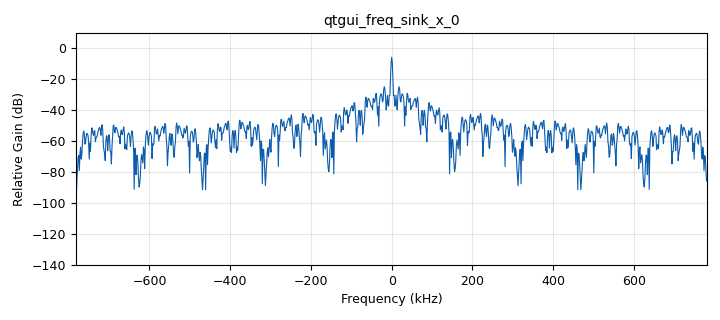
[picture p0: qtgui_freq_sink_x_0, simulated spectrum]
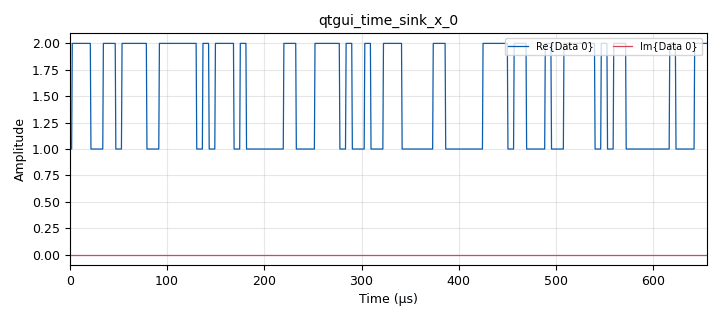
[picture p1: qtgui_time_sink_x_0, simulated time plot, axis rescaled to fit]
options:
  parameters:
    author: lab comu2 grupo 5
    generate_options: qt_gui
    id: Modulacion_ASK
    output_language: python
    title: Sindy Chapeta, Diego Calderon
  states: {}

blocks:
- name: Ac
  id: variable_qtgui_range
  parameters:
    label: Amplitud de la portadora
    start: '0'
    step: '0.1'
    stop: '2'
    value: '1'
  states: {}
- name: GTX
  id: variable_qtgui_range
  parameters:
    label: ganancia del TX
    start: '0'
    step: '1'
    stop: '30'
    value: '0'
  states: {}
- name: fc
  id: variable_qtgui_range
  parameters:
    label: frecuencia de portadora
    start: 50e6
    step: 1e6
    stop: 2200e6
    value: 50e6
  states: {}
- name: interpolation
  id: variable_qtgui_range
  parameters:
    start: '10'
    step: '10'
    stop: '100'
    value: '10'
  states: {}
- name: ka
  id: variable_qtgui_range
  parameters:
    label: coeficiente de sensibilidad ka
    start: '0'
    step: '0.1'
    stop: '2'
    value: '1'
  states: {}
- name: samp_rate
  id: variable
  parameters:
    value: 1.5625e6
  states: {}
- name: analog_random_source_x_0
  id: analog_random_source_x
  parameters:
    max: '2'
    min: '0'
    num_samps: '100000'
    repeat: 'True'
    type: byte
  states: {}
- name: blocks_add_const_vxx_0
  id: blocks_add_const_vxx
  parameters:
    const: '1'
    type: float
  states: {}
- name: blocks_float_to_complex_0
  id: blocks_float_to_complex
  parameters: {}
  states: {}
- name: blocks_multiply_const_vxx_0
  id: blocks_multiply_const_vxx
  parameters:
    const: ka
    type: float
  states: {}
- name: blocks_multiply_const_vxx_0_0
  id: blocks_multiply_const_vxx
  parameters:
    const: Ac
    type: complex
  states: {}
- name: blocks_null_source_0
  id: blocks_null_source
  parameters:
    type: float
  states: {}
- name: blocks_repeat_0
  id: blocks_repeat
  parameters:
    interp: interpolation
    type: float
  states: {}
- name: blocks_uchar_to_float_0
  id: blocks_uchar_to_float
  parameters: {}
  states: {}
- name: qtgui_freq_sink_x_0
  id: qtgui_freq_sink_x
  parameters:
    bw: samp_rate
    fc: '0'
    fftsize: '1024'
    type: complex
  states: {}
- name: qtgui_time_sink_x_0
  id: qtgui_time_sink_x
  parameters:
    size: '1024'
    srate: samp_rate
    type: complex
  states: {}
- name: uhd_usrp_sink_0
  id: uhd_usrp_sink
  parameters:
    ant0: '"TX/RX"'
    center_freq0: fc
    gain0: GTX
    samp_rate: samp_rate
    sync: pc_clock
    type: fc32
  states: {}

connections:
- [analog_random_source_x_0, '0', blocks_uchar_to_float_0, '0']
- [blocks_add_const_vxx_0, '0', blocks_float_to_complex_0, '0']
- [blocks_float_to_complex_0, '0', blocks_multiply_const_vxx_0_0, '0']
- [blocks_multiply_const_vxx_0, '0', blocks_add_const_vxx_0, '0']
- [blocks_multiply_const_vxx_0_0, '0', qtgui_freq_sink_x_0, '0']
- [blocks_multiply_const_vxx_0_0, '0', qtgui_time_sink_x_0, '0']
- [blocks_multiply_const_vxx_0_0, '0', uhd_usrp_sink_0, '0']
- [blocks_null_source_0, '0', blocks_float_to_complex_0, '1']
- [blocks_repeat_0, '0', blocks_multiply_const_vxx_0, '0']
- [blocks_uchar_to_float_0, '0', blocks_repeat_0, '0']

metadata:
  file_format: 1
